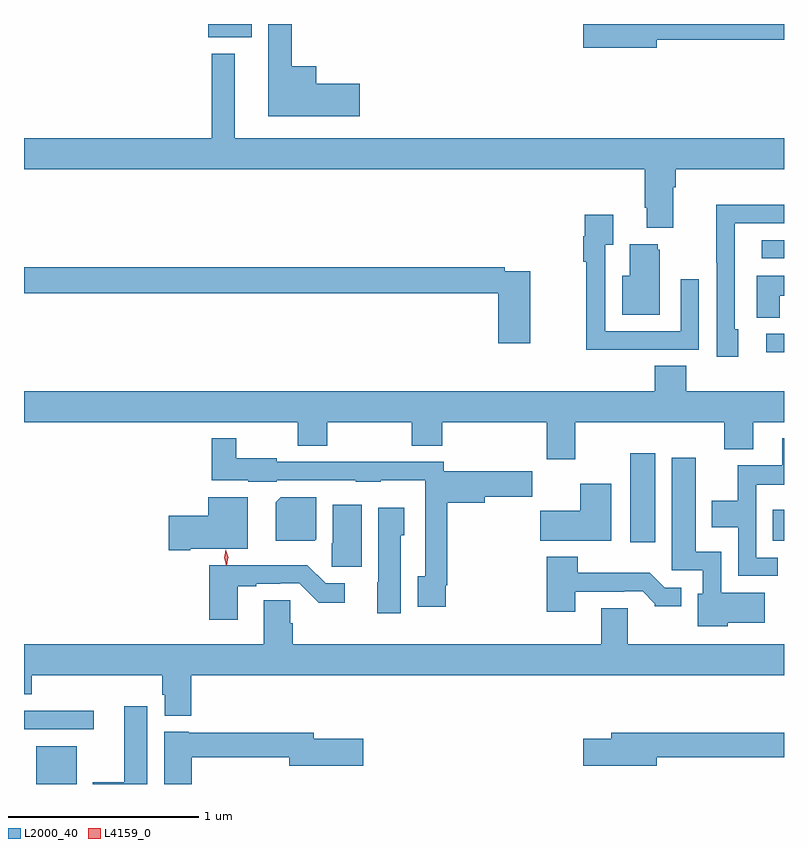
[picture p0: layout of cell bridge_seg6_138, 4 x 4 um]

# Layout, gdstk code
import gdstk
lib = gdstk.Library(unit=1e-6, precision=1e-09)
def R(c, l, rs):  # rectangles x0, y0, x1, y1
    for r in rs: c.add(gdstk.rectangle(r[:2], r[2:], *l))
def P(c, l, *ps):  # polygons
    for p in ps: c.add(gdstk.Polygon(p, *l))
L2000_40 = (2000, 40)
L4159_0 = (4159, 0)

bridge_seg6_138 = lib.new_cell('bridge_seg6_138')
R(bridge_seg6_138, L2000_40, [(568.052,929.448,568.264,929.647), (567.987,929.736,568.354,929.834), (571.178,930.72,571.309,931.189), (571.927,930.728,571.987,930.892), (571.893,931.721,571.987,931.818), (571.869,932.214,571.987,932.31), (568.958,933.377,569.185,933.448)])
P(bridge_seg6_138, L2000_40, [(569.755,933.134),(569.524,933.134),(569.524,933.226),(569.395,933.226),(569.395,933.448),(569.273,933.448),(569.273,932.963),(569.755,932.963)],
  [(571.318,933.364),(571.987,933.364),(571.987,933.448),(570.93,933.448),(570.93,933.322),(571.318,933.322)],
  [(571.405,932.588),(571.418,932.588),(571.418,932.684),(571.987,932.684),(571.987,932.848),(569.095,932.848),(569.095,933.292),(568.974,933.292),(568.974,932.848),(567.987,932.848),(567.987,932.684),(571.253,932.684),(571.253,932.482),(571.265,932.482),(571.265,932.375),(571.405,932.375)],
  [(571.747,931.842),(571.728,931.842),(571.728,932.4),(571.987,932.4),(571.987,932.498),(571.63,932.498),(571.63,932.191),(571.632,932.191),(571.632,931.698),(571.747,931.698)],
  [(571.223,931.734),(571.539,931.734),(571.539,932.104),(571.443,932.104),(571.443,931.83),(571.047,931.83),(571.047,932.287),(571.087,932.287),(571.087,932.443),(570.939,932.443),(570.939,932.33),(570.931,932.33),(570.931,932.198),(570.946,932.198),(570.946,931.733),(571.223,931.733)],
  [(571.333,932.259),(571.322,932.259),(571.322,932.29),(571.175,932.29),(571.175,932.122),(571.136,932.122),(571.136,931.919),(571.333,931.919)],
  [(570.652,932.148),(570.518,932.148),(570.518,932.168),(567.987,932.168),(567.987,932.032),(570.482,932.032),(570.482,931.767),(570.652,931.767)],
  [(571.965,932.018),(571.987,932.018),(571.987,932.122),(571.844,932.122),(571.844,931.903),(571.965,931.903)],
  [(570.889,931.352),(571.673,931.352),(571.673,931.211),(571.825,931.211),(571.825,931.352),(571.987,931.352),(571.987,931.516),(571.472,931.516),(571.472,931.649),(571.307,931.649),(571.307,931.516),(567.987,931.516),(567.987,931.352),(569.428,931.352),(569.428,931.228),(569.583,931.228),(569.583,931.352),(570.028,931.352),(570.028,931.228),(570.188,931.228),(570.188,931.352),(570.737,931.352),(570.737,931.158),(570.889,931.158)],
  [(570.208,930.493),(570.215,930.493),(570.215,930.929),(570.412,930.929),(570.412,930.959),(570.661,930.959),(570.661,931.093),(570.195,931.093),(570.195,931.143),(569.965,931.143),(569.965,931.145),(569.733,931.145),(569.733,931.143),(569.316,931.143),(569.316,931.162),(569.104,931.162),(569.104,931.267),(568.975,931.267),(568.975,931.046),(569.166,931.046),(569.166,931.04),(569.316,931.04),(569.316,931.047),(569.733,931.047),(569.733,931.04),(569.865,931.04),(569.865,931.046),(570.099,931.046),(570.099,930.542),(570.059,930.542),(570.059,930.381),(570.208,930.381)],
  [(571.954,930.639),(571.842,930.639),(571.842,931.022),(571.987,931.022),(571.987,931.267),(571.979,931.267),(571.979,931.126),(571.744,931.126),(571.744,930.94),(571.607,930.94),(571.607,930.8),(571.746,930.8),(571.746,930.543),(571.954,930.543)],
  [(571.692,930.296),(571.885,930.296),(571.885,930.454),(571.656,930.454),(571.656,930.67),(571.522,930.67),(571.522,931.165),(571.397,931.165),(571.397,930.573),(571.56,930.573),(571.56,930.45),(571.532,930.45),(571.532,930.278),(571.692,930.278)],
  [(571.078,931.027),(570.914,931.027),(570.914,930.886),(570.705,930.886),(570.705,930.728),(571.078,930.728)],
  [(569.524,930.736),(569.524,930.958),(569.338,930.958),(569.312,930.932),(569.312,930.728),(569.516,930.728)],
  [(568.862,930.686),(569.164,930.686),(569.164,930.956),(568.958,930.956),(568.958,930.86),(568.749,930.86),(568.749,930.677),(568.862,930.677)],
  [(569.764,930.919),(569.612,930.919),(569.612,930.714),(569.608,930.714),(569.608,930.591),(569.764,930.591)],
  [(569.971,930.756),(569.989,930.756),(569.989,930.901),(569.852,930.901),(569.852,930.51),(569.846,930.51),(569.846,930.348),(569.971,930.348)],
  [(570.889,930.459),(571.145,930.459),(571.145,930.462),(571.244,930.462),(571.308,930.398),(571.308,930.383),(571.447,930.383),(571.447,930.48),(571.359,930.48),(571.281,930.559),(570.902,930.559),(570.902,930.643),(570.737,930.643),(570.737,930.354),(570.889,930.354)],
  [(569.113,930.489),(569.209,930.489),(569.209,930.501),(569.336,930.501),(569.336,930.504),(569.436,930.504),(569.539,930.402),(569.674,930.402),(569.674,930.504),(569.574,930.504),(569.479,930.599),(568.961,930.599),(568.961,930.312),(569.113,930.312)],
  [(568.868,930.02),(571.987,930.02),(571.987,930.184),(571.165,930.184),(571.165,930.374),(571.025,930.374),(571.025,930.184),(569.402,930.184),(569.402,930.294),(569.388,930.294),(569.388,930.416),(569.249,930.416),(569.249,930.184),(567.987,930.184),(567.987,929.921),(568.028,929.921),(568.028,930.02),(568.715,930.02),(568.715,929.919),(568.727,929.919),(568.727,929.807),(568.868,929.807)],
  [(568.636,929.857),(568.514,929.857),(568.514,929.458),(568.349,929.458),(568.349,929.448),(568.636,929.448)],
  [(568.871,929.59),(569.384,929.59),(569.384,929.543),(569.773,929.543),(569.773,929.685),(569.512,929.685),(569.512,929.719),(568.854,929.719),(568.854,929.722),(568.724,929.722),(568.724,929.448),(568.871,929.448)],
  [(571.318,929.59),(571.987,929.59),(571.987,929.719),(571.079,929.719),(571.079,929.685),(570.93,929.685),(570.93,929.543),(571.318,929.543)])
P(bridge_seg6_138, L4159_0, [(569.052,930.6),(569.041,930.64),(569.049,930.681),(569.05,930.682),(569.05,930.681),(569.061,930.641),(569.053,930.6),(569.053,930.6)])

lib.write_gds('bridge_seg6_138.gds')
